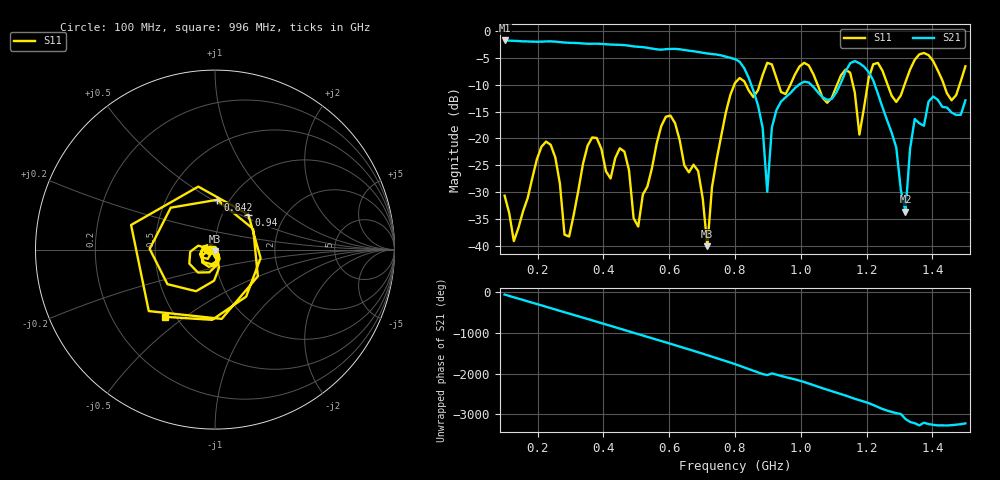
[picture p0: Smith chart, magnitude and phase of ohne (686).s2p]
! NanoVNA-App
! Date: 2025-09-25 14:26:08
! Start: 100MHz Stop: 1,5GHz Points: 101
! S-Parameter data: F S11 S21 S12 S22
# Hz S RI R 50
!  Frequency  S11_Real  S11_Imag  S21_Real  S21_Imag  S12_Real  S12_Imag  S22_Real  S22_Imag
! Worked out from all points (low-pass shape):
!   101 points, 100 MHz to 1.5 GHz, reference 50 ohm
!   highest |S21| = -1.79 dB at 100 MHz (marker M1); lowest = -33.6 dB at 1.318 GHz (marker M2)
!   |S21| within 3 dB of the highest: start of sweep to 771.6 MHz
!   lowest |S11| = -40.0 dB at 716 MHz (marker M3), VSWR 1.02, Z = 49.8 - j0.971 ohm
!   |S11| at or under -10 dB: start of sweep to 798 MHz; 833 MHz to 875.1 MHz (42.09 MHz wide, 4.93 % of centre); 1.051 GHz to 1.11 GHz (59.36 MHz wide, 5.49 % of centre) (the widest 3 of 7)
!   S12 and S22 are empty: the file has one direction only
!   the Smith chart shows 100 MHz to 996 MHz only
!   S11 on the Smith chart (normalised r, x): 100 MHz: 0.94, -0.01; 842 MHz: 0.88, +0.53; 940 MHz: 1.32, +0.56; 996 MHz: 0.44, -0.42
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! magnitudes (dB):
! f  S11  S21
! 100 MHz  -30.6  -1.8
! 128 MHz  -39.1  -1.9
! 226 MHz  -20.6  -2.0
! 296 MHz  -38.2  -2.2
! 338 MHz  -24.8  -2.4
! 464 MHz  -22.4  -2.7
! 506 MHz  -36.4  -3.0
! 576 MHz  -17.7  -3.5
! 688 MHz  -26.1  -3.9
! 716 MHz  -40.0  -4.2
! 800 MHz  -9.7  -5.3
! 842 MHz  -11.1  -8.8
! 898 MHz  -6.0  -29.9
! 940 MHz  -11.4  -13.1
! 996 MHz  -6.6  -9.9
! 1.038 GHz  -8.0  -10.4
! 1.178 GHz  -19.3  -6.0
! 1.22 GHz  -6.2  -9.2
! 1.276 GHz  -12.1  -18.9
! 1.318 GHz  -9.5  -33.6
! 1.346 GHz  -5.4  -16.4
! 1.5 GHz  -6.6  -12.9
